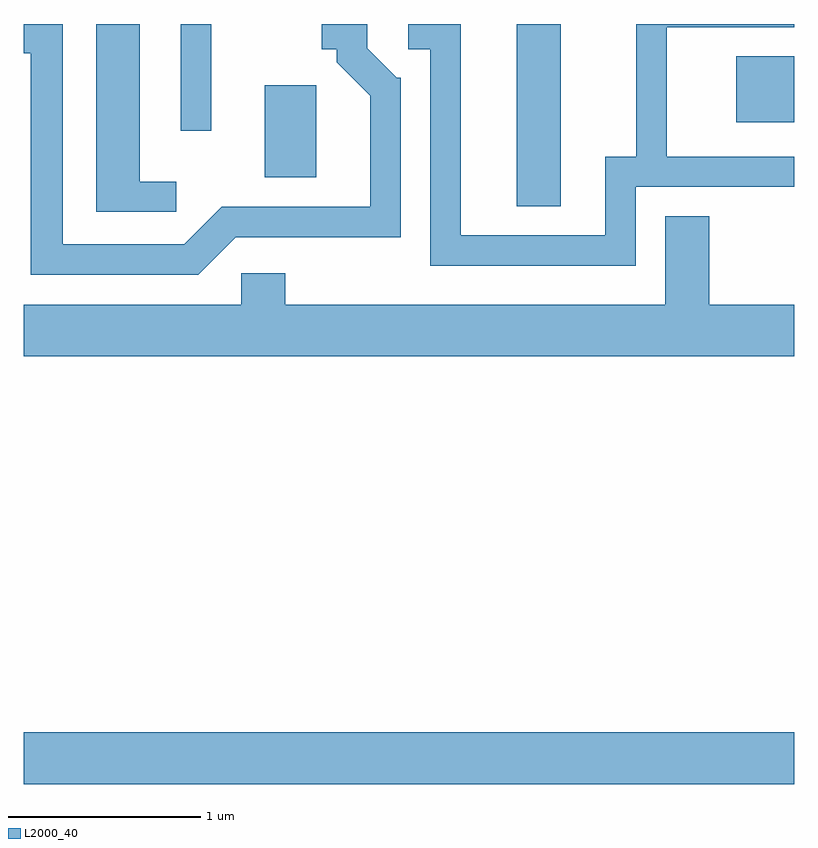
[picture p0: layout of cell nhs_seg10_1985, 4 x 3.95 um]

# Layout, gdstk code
import gdstk
lib = gdstk.Library(unit=1e-6, precision=1e-09)
def R(c, l, rs):  # rectangles x0, y0, x1, y1
    for r in rs: c.add(gdstk.rectangle(r[:2], r[2:], *l))
def P(c, l, *ps):  # polygons
    for p in ps: c.add(gdstk.Polygon(p, *l))
L2000_40 = (2000, 40)

nhs_seg10_1985 = lib.new_cell('nhs_seg10_1985')
R(nhs_seg10_1985, L2000_40, [(243.611,2120.576,247.611,2120.844), (246.171,2123.576,246.399,2124.522), (244.861,2123.726,245.129,2124.204), (244.426,2123.968,244.584,2124.522), (247.311,2124.011,247.611,2124.354)])
P(nhs_seg10_1985, L2000_40, [(244.712,2123.416),(245.569,2123.416),(245.569,2124.244),(245.547,2124.244),(245.394,2124.397),(245.394,2124.522),(245.158,2124.522),(245.158,2124.391),(245.236,2124.391),(245.236,2124.324),(245.411,2124.149),(245.411,2123.574),(244.639,2123.574),(244.444,2123.379),(243.814,2123.379),(243.814,2124.522),(243.611,2124.522),(243.611,2124.371),(243.646,2124.371),(243.646,2123.221),(244.517,2123.221)],
  [(244.403,2123.704),(244.214,2123.704),(244.214,2124.522),(243.986,2124.522),(243.986,2123.546),(244.403,2123.546)],
  [(246.789,2123.676),(247.611,2123.676),(247.611,2123.834),(246.949,2123.834),(246.949,2124.506),(247.611,2124.506),(247.611,2124.522),(246.791,2124.522),(246.791,2123.834),(246.631,2123.834),(246.631,2123.424),(245.879,2123.424),(245.879,2124.522),(245.608,2124.522),(245.608,2124.391),(245.721,2124.391),(245.721,2123.266),(246.789,2123.266)],
  [(247.611,2123.064),(247.169,2123.064),(247.169,2123.524),(246.941,2123.524),(246.941,2123.064),(244.969,2123.064),(244.969,2123.229),(244.741,2123.229),(244.741,2123.064),(243.611,2123.064),(243.611,2122.796),(247.611,2122.796)])

lib.write_gds('nhs_seg10_1985.gds')
